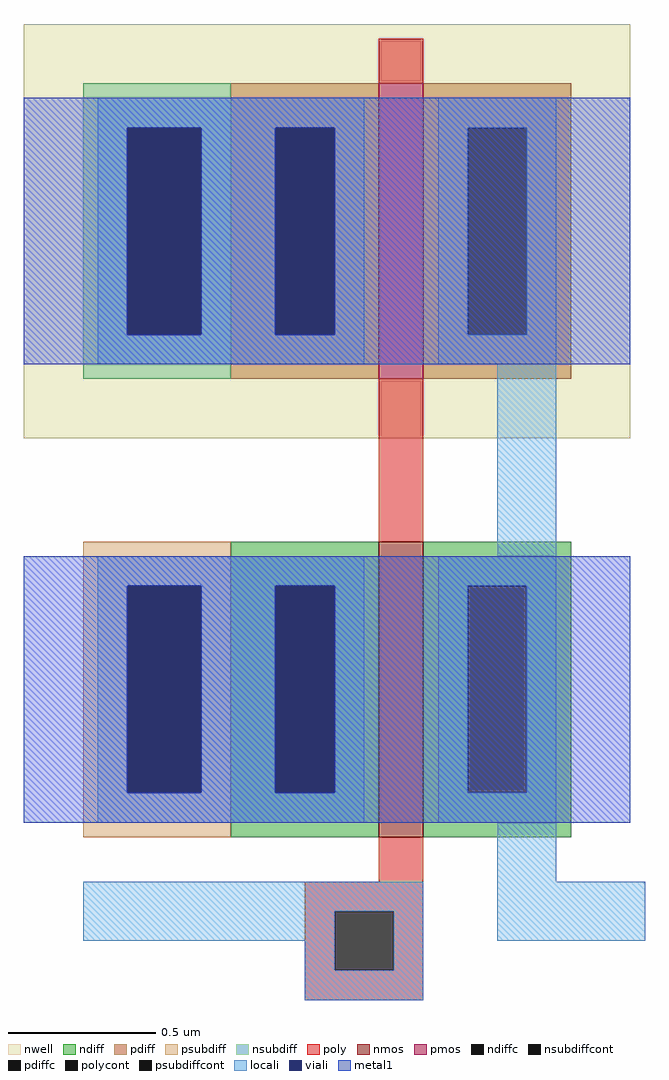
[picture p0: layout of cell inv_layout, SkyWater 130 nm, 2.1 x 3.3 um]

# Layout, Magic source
magic
tech sky130A
<< nwell >>
rect -120 135 85 275
<< nmos >>
rect 0 0 15 100
<< pmos >>
rect 0 155 15 255
<< ndiff >>
rect -50 85 0 100
rect -50 15 -35 85
rect -15 15 0 85
rect -50 0 0 15
rect 15 85 65 100
rect 15 15 30 85
rect 50 15 65 85
rect 15 0 65 15
<< pdiff >>
rect -50 240 0 255
rect -50 170 -35 240
rect -15 170 0 240
rect -50 155 0 170
rect 15 240 65 255
rect 15 170 30 240
rect 50 170 65 240
rect 15 155 65 170
<< ndiffc >>
rect -35 15 -15 85
rect 30 15 50 85
<< pdiffc >>
rect -35 170 -15 240
rect 30 170 50 240
<< psubdiff >>
rect -100 85 -50 100
rect -100 15 -85 85
rect -60 15 -50 85
rect -100 0 -50 15
<< nsubdiff >>
rect -100 240 -50 255
rect -100 170 -85 240
rect -60 170 -50 240
rect -100 155 -50 170
<< psubdiffcont >>
rect -85 15 -60 85
<< nsubdiffcont >>
rect -85 170 -60 240
<< poly >>
rect 0 255 15 270
rect 0 100 15 155
rect 0 -15 15 0
rect -25 -25 15 -15
rect -25 -45 -15 -25
rect 5 -45 15 -25
rect -25 -55 15 -45
<< polycont >>
rect -15 -45 5 -25
<< locali >>
rect -95 240 -5 250
rect -95 170 -85 240
rect -60 170 -35 240
rect -15 170 -5 240
rect -95 160 -5 170
rect 20 240 60 250
rect 20 170 30 240
rect 50 170 60 240
rect 20 160 60 170
rect 40 95 60 160
rect -95 85 -5 95
rect -95 15 -85 85
rect -60 15 -35 85
rect -15 15 -5 85
rect -95 5 -5 15
rect 20 85 60 95
rect 20 15 30 85
rect 50 15 60 85
rect 20 5 60 15
rect 40 -15 60 5
rect -100 -25 15 -15
rect -100 -35 -15 -25
rect -25 -45 -15 -35
rect 5 -45 15 -25
rect 40 -35 90 -15
rect -25 -55 15 -45
<< viali >>
rect -85 170 -60 240
rect -35 170 -15 240
rect -85 15 -60 85
rect -35 15 -15 85
<< metal1 >>
rect -120 240 85 250
rect -120 170 -85 240
rect -60 170 -35 240
rect -15 170 85 240
rect -120 160 85 170
rect -120 85 85 95
rect -120 15 -85 85
rect -60 15 -35 85
rect -15 15 85 85
rect -120 5 85 15
<< end >>
